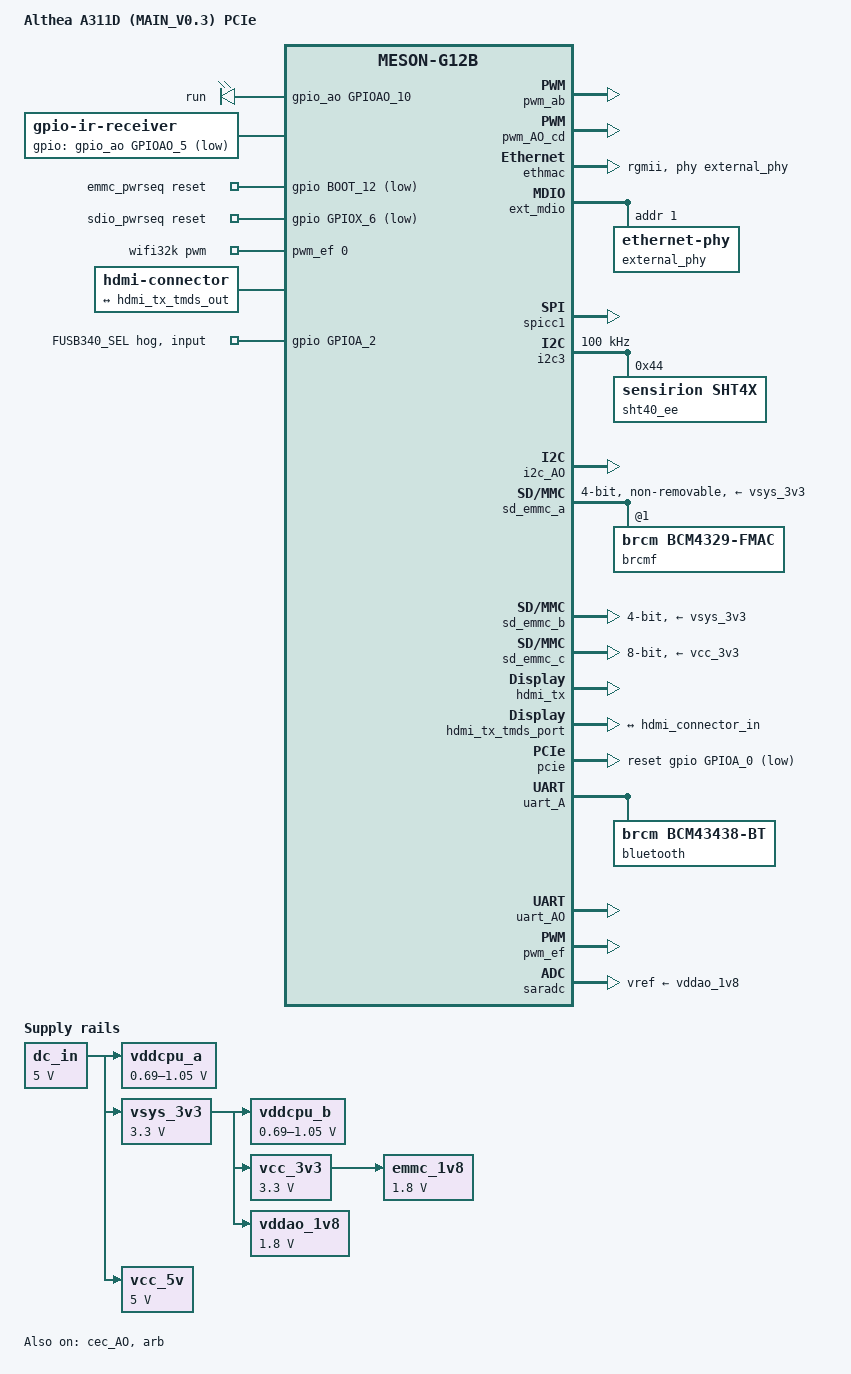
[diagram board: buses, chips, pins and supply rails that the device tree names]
// SPDX-License-Identifier: (GPL-2.0+ OR MIT)
/*
 * MAIN_V0.3 — Althea A311D board 【PCIe 模式变体】
 *
 * 本文件是 dt/meson-halo-a311d.dts 的 PCIe 变体，差异：
 *   &pcie status="okay" + reset-gpios(GPIOA_0 PERST#)
 *   &usb  status="disabled"
 *
 * ⚠ 切换方式：**不是 extlinux**。本板 U-Boot 在 boot 前读 GPIOA_2 的
 *   strap 电平，据此 setenv fdtfile 选对应 dtb（冷切换）。
 *   镜像里的 dtb 路径形如：
 *     dtb/amlogic/meson-halo-a311d.dtb        ← USB3.0 变体
 *     dtb/amlogic/meson-halo-a311d-pcie.dtb   ← 本文件（PCIe 变体）
 *   详见 docs/冷切换使用说明.md 与 README「软件链路」一节。
 *
 * 派生自 Khadas VIM3 (meson-g12b-a311d-khadas-vim3.dts)
 * 骨架来源: mainline kernel 6.18.52
 *          arch/arm64/boot/dts/amlogic/meson-khadas-vim3.dtsi
 *
 * 本板与 VIM3 的差异:
 *   - 无on-board MCU（VIM3 用 khadas_mcu@18 + tca6408@20 做 GPIO扩展）→ 已删除
 *   - 无音频（TDM 声卡全删）→ 已删除
 *   - FUSB340TMX 切换改由 GPIOA_2 直控 SEL（VIM3 靠 MCU）
 *   - 以太网 PHY 地址 = 1（strap 实测，非 VIM3 的 0）
 *   - 新增 SPI 点屏（GPIOA_3/GPIOA_4/GPIOH_4~8）
 *   - 新增 SHT40 温湿度（U42，地址 0x44，走 &i2c3）
 *     （U45 虽贴装但 I2C 线网表悬空，未启用）
 *   - 摄像头未使用 → CSI/ISP 关闭
 *
 * 数据来源: MAIN_V0.3 全工程网表实测（495 元件/ 393 网络）
 *          PCB 等长网络组实测（TX散布6.5mil / RX 散布 7.3mil）
 *
 * ⚠ 运行时热切换限制（详见 FUSB340 说明段）
 *
 *   &pcie 与 &usb 共用 usb3_pcie_phy（meson-g12-common.dtsi:164/2510），
 *   DTS 是编译期静态描述，PHY 归谁在编译时就定死。
 *   → 当前配置：默认只开 USB3.0（&usb okay，&pcie disabled），
 *     与 FUSB340 SEL 默认 LOW 一致。
 *   → 运行期 echo GPIO 只能改 FUSB340 物理通路，无法同步 SoC 内部 PHY 归属。
 *   → 要切 PCIe 需重编 DTB（方案 A，推荐）或实测 unbind/bind（方案 C，不保证）。
 *
 * ✅ 已确认可用：CPU 调压(VIM3 骨架) / 以太网(rgmii+tx-delay+rx-delay) /
 *    SDIO / SD / eMMC / HDMI / CEC / USB / 运行灯 / 红外GPIO /
 *    **SPI 硬件 SPI1(GPIOH_4~7, CS=GPIOH_6/SCLK=GPIOH_7)** /
 *    SPI 屏 RST-RS-背光 / **SHT40(U42, i2c3)**
 */

/dts-v1/;

#include <dt-bindings/gpio/meson-g12a-gpio.h>
#include <dt-bindings/gpio/gpio.h>
#include <dt-bindings/leds/common.h>
#include <dt-bindings/input/linux-event-codes.h>
#include <dt-bindings/interrupt-controller/irq.h>
/* ⚠⚠ 只能 include a311d 这一份，**不要**再 include meson-g12b-s922x.dtsi。
 * 详见 meson-halo-a311d.dts 里同段注释（同名 opp-table 会被 dtc 合并成混搭表）。
 */
#include "meson-g12b-a311d.dtsi"

/ {
	model = "Althea A311D (MAIN_V0.3) PCIe";
	compatible = "althea,a311d", "amlogic,a311d", "amlogic,g12b";

	aliases {
		serial0 = &uart_AO;
		ethernet0 = &ethmac;
		/* ⚠ 本板**没有** RTC 芯片（网表 495 元件里查无 8563/3231/DS1307 等），
		 *   原先指向厂商 hym8563 的 rtc@51 节点已删除。
		 *   改指 SoC 内置的虚拟 RTC（vrtc: rtc@a8，compatible="amlogic,meson-vrtc"，
		 *   驱动 drivers/rtc/rtc-meson-vrtc.c，上游 g12-common.dtsi 里默认 okay）。
		 *   上游 VIM3 用 rtc0=&rtc(hym8563) + rtc1=&vrtc，本板只有 vrtc 一个。
		 */
		rtc0 = &vrtc;
	};

	chosen {
		stdout-path = "serial0:115200n8";
	};

	/* ================================================================
	 * 电源（VIM3 骨架，pwm-regulator 调压）
	 * ================================================================
	 * ⚠ 关于 VDDCPU_B_EN(TEST_N)：
	 *   本板未实现 TEST_N 控制。厂商 pro-a311d DTS 与mainline VIM3 均为
	 *   regulator-always-on（VIM3 原注释: "FIXME: actually controlled by
	 *   VDDCPU_B_EN"）。A311D 无 PMIC，CPU 供电靠 PWM 占空比调压，
	 *   TEST_N 仅作硬件上电闸门，不需DTS 控制。
	 *   本板网表 VDDCPU_B_EN(CN3-73) 链路 R6/R12/Q2/U4 全部 bom=no（未使用）。
	 */

	/* 大核 A73 供电：MP8756GD，用 pwm_ab 控制器的 **A 通道** */
	vddcpu_a: regulator-vddcpu-a {
		compatible = "pwm-regulator";
		regulator-name = "VDDCPU_A";
		regulator-min-microvolt = <690000>;
		regulator-max-microvolt = <1050000>;

		pwm-supply = <&dc_in>;
		/*
		 * pwm_ab = EE 域 PWM 控制器(pwm@1b000)，0=A、1=B。
		 * 通道 0(A) 可选脚含 GPIOX_6；
		 * 本板 VDDCPU_A_PWM = GPIOE_2 (厂商 pinmux pwm_a_e2 →
		 *   function "pwm_a_gpioe"，规格书 Table 3-10 GPIOE_2 组)。
		 */
		pwms = <&pwm_ab 0 1250 0>;
		pwm-dutycycle-range = <100 0>;

		regulator-boot-on;
		regulator-always-on;
	};

	/* 小核 A53 供电：SY8030DEC，用 PWM_AO_C/D 控制器的 **D 通道** */
	vddcpu_b: regulator-vddcpu-b {
		compatible = "pwm-regulator";
		regulator-name = "VDDCPU_B";
		regulator-min-microvolt = <690000>;
		regulator-max-microvolt = <1050000>;

		pwm-supply = <&vsys_3v3>;
		/*
		 * pwm_AO_cd = AO 域 PWM 控制器(pwm@2000)，非引脚名。
		 * Amlogic PWM 两两配对：AB / CD / EF。
		 * 此控制器 0=A、1=D。
		 * 通道 1(D) 可选脚: GPIOAO_5 / GPIOAO_10 / GPIOE_1
		 * 本板 VDDCPU_B_PWM = GPIOE_1 (规格书 Table 3-10
		 *   GPIOE_1 Func3 = PWMAO_D)，故用 pwm_ao_d_e_pins。
		 */
		pwms = <&pwm_AO_cd 1 1250 0>;
		pwm-dutycycle-range = <100 0>;

		regulator-boot-on;
		regulator-always-on;
	};

	dc_in: regulator-dc-in {
		compatible = "regulator-fixed";
		regulator-name = "DC_IN";
		regulator-min-microvolt = <5000000>;
		regulator-max-microvolt = <5000000>;
		regulator-always-on;
	};

	vsys_3v3: regulator-vsys-3v3 {
		compatible = "regulator-fixed";
		regulator-name = "VSYS_3V3";
		regulator-min-microvolt = <3300000>;
		regulator-max-microvolt = <3300000>;
		vin-supply = <&dc_in>;
		regulator-always-on;
	};

	vcc_5v: regulator-vcc-5v {
		compatible = "regulator-fixed";
		regulator-name = "VCC_5V";
		regulator-min-microvolt = <5000000>;
		regulator-max-microvolt = <5000000>;
		vin-supply = <&dc_in>;
		regulator-always-on;
	};

	/* MT9700 EN 已改电阻上拉常开 → GPIOAO_11 释放，不做 GPIO 使能 */
	vcc_3v3: regulator-vcc-3v3 {
		compatible = "regulator-fixed";
		regulator-name = "VCC_3V3";
		regulator-min-microvolt = <3300000>;
		regulator-max-microvolt = <3300000>;
		vin-supply = <&vsys_3v3>;
		regulator-always-on;
	};

	vddao_1v8: regulator-vddao-1v8 {
		compatible = "regulator-fixed";
		regulator-name = "VDDIO_AO1V8";
		regulator-min-microvolt = <1800000>;
		regulator-max-microvolt = <1800000>;
		vin-supply = <&vsys_3v3>;
		regulator-always-on;
	};

	emmc_1v8: regulator-emmc-1v8 {
		compatible = "regulator-fixed";
		regulator-name = "EMMC_AO1V8";
		regulator-min-microvolt = <1800000>;
		regulator-max-microvolt = <1800000>;
		vin-supply = <&vcc_3v3>;
		regulator-always-on;
	};

	/* ================================================================
	 * 运行指示灯 LED4 —— GPIOAO_10
	 * ================================================================
	 * 硬件: A_3V3 → R108(4.7k) → LED4 → Q8(PMBS3904, **NPN**) → GND
	 *      Q8 BASE ← R110(100Ω) ← GPIOAO_10
	 * NPN 低边开关 → 高电平点亮 → GPIO_ACTIVE_HIGH
	 * AO 域 can_sleep=false → 内核 heartbeat 可在 atomic 上下文工作
	 *
	 * ⚠⚠ 属性名必须是 **linux,default-trigger**（带 `linux,` 前缀），
	 *   默认状态属性是 **default-state**（不是 state）。
	 *   依据：drivers/leds/led-class.c:504 读 "linux,default-trigger"；
	 *         drivers/leds/led-core.c:607 读 "default-state"；
	 *         plain "default-trigger" 与 "state" 内核均无人读取。
	 *   详见 dt/meson-halo-a311d.dts 同一处的完整注释。
	 */
	leds {
		compatible = "gpio-leds";

		run_led {
			label = "run";
			gpios = <&gpio_ao GPIOAO_10 GPIO_ACTIVE_HIGH>;
			linux,default-trigger = "heartbeat";
			default-state = "on";
		};
	};

	/* ------------------------------------------------------------
	 * PCIe / M.2 控制脚（网表实测，见文件末尾 &pcie 段详注）
	 * ------------------------------------------------------------
	 * GPIOA_0  = PCIE_PERST     4.7k 上拉 A_3V3(R88) + 0Ω(R92) → CN2-30，低有效
	 * GPIOA_1  = PCIE_PEWAKE    4.7k 上拉 A_3V3(R89) + 0Ω(R91) → CN2-32
	 * GPIOC_7  = PCIE_CLKREQ_N  4.7k 下拉 GND(R90)  + 0Ω(R93) → CN2-28，低有效
	 * GPIOA_2  = FUSB340 SEL    R86(0Ω) 到 U28.6，R85/R87 4.7k 下拉 → 默认 USB3.0
	 *
	 * ⚠⚠ FUSB340_SEL 的 hog **不能**放在根节点（见文件末尾 &gpio 段）。
	 *   下面只留注释说明，实体节点见 &gpio { fusb340-sel-hog { ... } }。
	 */

	/* ================================================================
	 * 红外接收 —— U38 IRM-V838M3-C/TR1 → GPIOAO_5 (AO 域)
	 * ================================================================
	 * 链路: U38.3 → R116/R115 → CN3-75 (IR_IN) → GPIOAO_5
	 * 复用名 IR_REMOTE_IN / PWMAO_D（规格书）
	 *
	 * ⚠ 本板遥控器键值表未知，暂用 Linux 自带 rc-khadas。
	 *   若遥控器型号不同，需换对应 rc-map-name 或自定义 keymap。
	 */
	ir-receiver {
		compatible = "gpio-ir-receiver";
		gpios = <&gpio_ao GPIOAO_5 GPIO_ACTIVE_LOW>;
	};

	/* ================================================================
	 * SPI 屏（FPC5 座）
	 * ================================================================
	 * SPI_B: MOSI=GPIOH_4, MISO=GPIOH_5, CS=GPIOH_7, SCLK=GPIOH_6
	 * 屏控制: RST=GPIOA_3, RS=GPIOA_4（普通 GPIO，非 SPI 复用）
	 * 背光:   GPIOH_8 → Q15(MMBT3906 **PNP** 高边) → SPI_LEDA
	 *          PNP 拉低导通 → GPIO_ACTIVE_LOW
	 */

	/* eMMC 上电时序 */
	emmc_pwrseq: emmc-pwrseq {
		compatible = "mmc-pwrseq-emmc";
		reset-gpios = <&gpio BOOT_12 GPIO_ACTIVE_LOW>;
	};

	/* SDIO (AP6256) 上电时序 —— 用 GPIOX_6 */
	sdio_pwrseq: sdio-pwrseq {
		compatible = "mmc-pwrseq-simple";
		reset-gpios = <&gpio GPIOX_6 GPIO_ACTIVE_LOW>;
		clocks = <&wifi32k>;
		clock-names = "ext_clock";
	};

	/* 32.768kHz 时钟（AP6256 需求） */
	wifi32k: wifi32k {
		compatible = "pwm-clock";
		#clock-cells = <0>;
		clock-frequency = <32768>;
		pwms = <&pwm_ef 0 30518 0>; /* PWM_E at 32.768KHz */
	};

	hdmi-connector {
		compatible = "hdmi-connector";
		type = "a";

		port {
			hdmi_connector_in: endpoint {
				remote-endpoint = <&hdmi_tx_tmds_out>;
			};
		};
	};

	/* ================================================================
	 * SHT40 (U42) —— 温湿度传感器，地址 0x44
	 * ================================================================
	 * U42 @ TOUCH_I2C (GPIOA_14/A15, EE 域, A_3V3 供电)
	 * U45 @ I2C_AO_S0 (AO 域, VDDIO_AO18 1.8V 供电)
	 * ⚠ 不能挂到同一&i2c 下 → 地址冲突
	 */

	/* ================================================================
	 * 按键 —— 全部非 GPIO 直连，底板不声明
	 * ================================================================
	 * SW2 → PWR_RST(CN3-35)     硬复位，不进 DTS
	 * SW3 → EMMC_KEY(CN3-33)    eMMC 复位，不进 DTS
	 * SW4 → PWR_KEY_DET(CN3-43) 电源/唤醒键（核心板侧处理）
	 * SW5 → ADC_KEY(CN3-55)     bom=no 未贴；SARADC_CH0/CH3 悬空
	 * 所有串阻均为 **100Ω**（非 1k）
	 * → 无 adc-keys、无 gpio-keys
	 */

	/* ================================================================
	 * 摄像头未使用 → 全部屏蔽
	 * ================================================================
	 * MIPI-CSI(FPC2) / CAMERA_RST / CM_RST / CM_PWRDN / I2C2_*_CAM 均不引用
	 * FPC3 仅保留 MIPI-DSI 显示通路
	 */
};

/* ==================================================================
 * CPU 频率/电压绑定（VIM3 骨架）
 * ================================================================== */
&cpu0 {
	cpu-supply = <&vddcpu_b>;      /* A53 小核 */
	operating-points-v2 = <&cpu_opp_table_0>;
	clocks = <&clkc CLKID_CPU_CLK>;
};

&cpu1 {
	cpu-supply = <&vddcpu_b>;
	operating-points-v2 = <&cpu_opp_table_0>;
	clocks = <&clkc CLKID_CPU_CLK>;
};

&cpu100 {
	cpu-supply = <&vddcpu_a>;      /* A73 大核 */
	operating-points-v2 = <&cpub_opp_table_1>;
	clocks = <&clkc CLKID_CPUB_CLK>;
};

&cpu101 {
	cpu-supply = <&vddcpu_a>;
	operating-points-v2 = <&cpub_opp_table_1>;
	clocks = <&clkc CLKID_CPUB_CLK>;
};

&cpu102 {
	cpu-supply = <&vddcpu_a>;
	operating-points-v2 = <&cpub_opp_table_1>;
	clocks = <&clkc CLKID_CPUB_CLK>;
};

&cpu103 {
	cpu-supply = <&vddcpu_a>;
	operating-points-v2 = <&cpub_opp_table_1>;
	clocks = <&clkc CLKID_CPUB_CLK>;
};

/* pwm_ab 通道0(A) → GPIOE_2 = VDDCPU_A_PWM（大核 A73） */
&pwm_ab {
	pinctrl-0 = <&pwm_a_e_pins>;
	pinctrl-names = "default";
	status = "okay";
};

/* pwm_AO_cd 通道1(D) → GPIOE_1 = VDDCPU_B_PWM（小核 A53） */
&pwm_AO_cd {
	pinctrl-0 = <&pwm_ao_d_e_pins>;
	pinctrl-names = "default";
	status = "okay";
};

/* ==================================================================
 * 以太网 —— RGMII 千兆 + RTL8211F
 * ==================================================================
 * PHY : U23 = RTL8211F，pin-to-pin 兼容 YT8531H-CA
 * 地址: strap 实测 = 3'b001 = 1（R78→A_3V3, R79/R80→GND）
 *       ⚠ VIM3 用 reg=<0>，本板必须改为 1
 *
 * 延时方案（抄 VIM3 + 补 RX）:
 *   PHY strap: TXDLY=1(加2ns), RXDLY=0(不加)
 *   PCB 等长实测: TX散布 6.5mil(≈1ps), RX 散布 7.3mil(≈1ps)
 *   → PCB 几乎不提供 clock-data 偏移
 *   → TX 由 MAC 加（amlogic,tx-delay-ns=2，VIM3 原样）
 *   → RX 由 MAC 加（rx-internal-delay-ps=2000，范围 0..3000ps/200ps 步进）
 *
 * ⚠ 禁用 phy-mode="rgmii-id"：PHY strap TXDLY 已开，会与 MAC 叠加成 4ns
 */
&ethmac {
	pinctrl-0 = <&eth_pins>, <&eth_rgmii_pins>;
	pinctrl-names = "default";
	status = "okay";
	phy-mode = "rgmii";
	phy-handle = <&external_phy>;
	amlogic,tx-delay-ns = <2>;
	rx-internal-delay-ps = <2000>;
};

&ext_mdio {
	external_phy: ethernet-phy@1 {   /* ⚠ 非 VIM3 的 @0 */
		/* Realtek RTL8211F (0x001cc916) */
		reg = <1>;
		max-speed = <1000>;
	};
};

/*
 *⚠⚠⚠ FUSB340TMX —— PCIe / USB3.0 热切换：可行性结论 ⚠⚠⚠
 *
 * 【硬件】
 *   GPIOA_2 → CN2-36 → R86(0Ω) → FUSB340 .6(SEL)
 *   FUSB340 .7(OE) → GND = 恒使能（0 = Switches Enabled）
 *   R85/R87 = 4.7k 下拉 →上电默认 LOW
 *
 *   SEL=0 (LOW)  → SW1 → USB3.0   ← 默认
 *   SEL=1 (HIGH) → SW2 → PCIe
 *
 * 【为什么 DTS 不能"热切换"】
 *
 *   A311D 的 PCIe 与 USB3 共用**同一个 PHY**（usb3_pcie_phy, phy@46000），
 *   两者是同一 PHY 的两种模式：
 *     meson-g12-common.dtsi:164   &pcie  → phys = <&usb3_pcie_phy PHY_TYPE_PCIE>
 *     meson-g12-common.dtsi:2510&usb   → phys = <&usb3_pcie_phy PHY_TYPE_USB3>
 *
 *   DTS 是**编译期静态描述**，一旦编译进 dtb，PHY 归谁就固定了：
 *     - pcie 的 status="okay" + USB 去掉 → 编译后一直是 PCIe
 *     - USB 启用 + pcie status="disabled"      → 编译后一直是 USB3.0
 *
 *   运行中改 GPIO 只能改变 FUSB340 的**物理通路**，
 *   但 SoC 内部仍按dtb 里写死的那一侧在枚举设备 → 两边不一致，功能失效。
 *
 * 【三个可选方案】
 *
 *   方案 A（推荐，最稳）：**两个DTB，开机时选**
 *     编译 amlogic/meson-halo-a311d.dtb 与 amlogic/meson-halo-a311d-pcie.dtb
 *     切换时改 U-Boot 的 fdtfile（**不是 extlinux**，见 docs/冷切换使用说明.md），重启生效
 *     → 彻底规避 PHY 归属问题，无热插拔风险
 *
 *   方案 B：DTB 里 pcie 与 usb **同时 status="okay"**
 *     两者共用 PHY，驱动 probe 时会争抢 → 大概率一方失败
 *     ⚠ 不推荐，除非已实测
 *
 *   方案 C：运行期 unbind/bind（理论可行，复杂度高）
 *     1) echo 0000:00.0 > /sys/bus/pci/devices/0000:00.0/remove   # 摘 PCIe
 *     2) echo 1 > /sys/class/gpio/<n>/value                     # SEL=1
 *     3) 重新 bind pcie / usb 控制器
 *     → PHY 模式位需要正确复位，仅切 FUSB340 不一定够
 *     → 需实测验证，不保证
 *
 * 【当前 DTS 采用】
 *   默认只开USB3.0（&usb status="okay"），&pcie 保持 disabled，
 *   与用户要求"默认 LOW 使能 USB3.0"一致。
 *   GPIOA_2 已用 gpio-hog 导出（默认 LOW），可在sysfs 读写，
 *   为方案 C 预留可能，但**不保证运行期切换一定成功**。
 *
 *   切换 PCIe 需改 DT 后重编：
 *     &pcie  { status = "okay"; reset-gpios = <&gpio GPIOA_8 GPIO_ACTIVE_LOW>; }
 *     &usb   { status = "disabled"; }
 *     并把 FUSB340 SEL 的默认电平改为 HIGH（或固件启动时拉高）
 */

/* ==================================================================
 * SPI 屏（FPC5）—— 硬件 SPI1（GPIOH_4~7）
 * ==================================================================
 * 规格书 A311D Table 3-26 (GPIO_x Multi-Function Pin) 与
 * mainline drivers/pinctrl/meson/pinctrl-meson-g12a.c 双向确认：
 *
 *   规格书 bit 字段         GPIO      驱动 group    pinctrl function
 *   ----------------------  --------  ------------  ---------------
 *   bit31-24  SPI_B_MOSI    GPIOH_4   spi1_mosi     "spi1"
 *   bit23-16  SPI_B_SCLK    GPIOH_7   spi1_clk      "spi1"
 *   bit15-8   SPI_B_SS0     GPIOH_6   spi1_ss0      "spi1"
 *   bit7-0    SPI_B_MISO    GPIOH_5   spi1_miso     "spi1"
 *
 *   驱动原文 (pinctrl-meson-g12a.c):
 *     186: spi1_mosi_pins[] = { GPIOH_4 };
 *     187: spi1_miso_pins[] = { GPIOH_5 };
 *     188: spi1_ss0_pins[]  = { GPIOH_6 };
 *     189: spi1_clk_pins[]  = { GPIOH_7 };
 *
 *   注意命名差异：规格书称 SPI_B（SoC 第 2 个 SPI），
 *   mainline pinctrl 驱动称 spi1_*，SoC 节点名为 spi1。
 *
 *   CS = SPI_B_SS0 = GPIOH_6（不是 GPIOH_7）；SCLK = GPIOH_7。
 *
 * 屏控制 GPIO（与 SPI 控制器无关）：
 *   GPIOA_3 = SPI_RST(屏复位)   GPIOA_4 = SPI_RS(寄存器选择)
 *   GPIOH_8 = 背光 EN -> Q15(MMBT3906 PNP 高边) -> ACTIVE_LOW
 */

/* SPI_B 控制器 = SPI1，GPIOH_4~7 */
/* spi1_* pinctrl group 归属 &spicc1 (spi@15000)，
 * 见 meson-g12-common.dtsi:1058 spicc1_pins
 *   groups = "spi1_mosi","spi1_miso","spi1_clk" / function = "spi1"
 * SS0 是独立节点 spicc1_ss0_pins (group "spi1_ss0")，需单独列进 pinctrl。
 */
&spicc1 {
	status = "okay";

	pinctrl-0 = <&spicc1_pins>, <&spicc1_ss0_pins>;
	pinctrl-names = "default";

	num-cs = <1>;
	cs-gpios = <&gpio GPIOH_6 GPIO_ACTIVE_LOW>;	/* SPI_B_SS0 = GPIOH_6 */

	/* ⚠⚠ 这里**不能**写 max-frequency —— 内核根本不读它！
	 *   SPI 子系统只读**从设备**节点上的 `spi-max-frequency`
	 *   （drivers/spi/spi.c:2456  of_property_read_u32(nc, "spi-max-frequency", ...)），
	 *   控制器节点上的 max-frequency 没有任何驱动消费。
	 *   之前写的 `max-frequency = <24000000>`（想限制到 24MHz）**从未生效**。
	 *
	 *   实际限频由驱动决定：drivers/spi/spi-meson-spicc.c
	 *     meson_spicc_g12a_data.max_speed_hz = 166666666   (166 MHz)
	 *   → 屏在 SPI 总线上最高可跑到 166MHz。
	 *
	 *   本板 SPI_B 上接的是**裸屏**（无 Linux 驱动、无从设备节点，
	 *   见下方「屏控制 GPIO 说明」），没有地方挂 spi-max-frequency。
	 *   要限制到 24MHz，需要给屏写一个 spi 从设备节点并在其中声明
	 *   spi-max-frequency = <24000000>；等屏驱动到位时再补。
	 *
	 *   屏初始化序列通常在屏驱动中，不在 DTS */
};

/* 屏控制 GPIO 说明（无对应 Linux 驱动消费，故不单独声明节点）
 *   屏复位RST   = GPIOA_3  (普通 GPIO 输出，屏手册定极性)
 *   寄存器选择RS = GPIOA_4  (普通 GPIO 输出)
 *   背光 EN     = GPIOH_8  (Q15 MMBT3906 PNP 高边 → 拉低导通 → 亮)
 *   → 背光随下面 leds 节点的 run_led 一并管理；RST/RS 由屏驱动或用户态控制。
 */

/* ==================================================================
 * GPIO —— periphs bank（&gpio = meson-g12-common.dtsi 的 bank@40）
 * ==================================================================
 * GPIOA_2 = FUSB340 SEL strap
 *
 * ⚠⚠ gpio-hog **必须**是 gpio-controller 的**子节点**：
 *   内核只在自己的 gpio controller 节点下扫 hog
 *   (drivers/gpio/gpiolib-of.c: of_gpiochip_scan_gpios() 遍历
 *    dev_of_node(&chip->gpiodev->dev) 的子节点)。
 *   挂在根节点下 → 内核根本不会看它。
 *
 * ⚠⚠ 属性名是 gpio-hog / gpios / input，
 *   之前的 `gpio-hog-controller-gpios` 上游**不存在**。
 *   且 input / output-low / output-high **必须显式三选一**，
 *   不写状态属性 = 内核报 "no hogging state specified, bailing out"
 *   并**跳过该 hog**（不是"自动变 input"）。
 *
 * 【为什么用 input 而非 output-low/output-high】
 *   SEL 电平由板上**选贴的上下拉电阻**决定，U-Boot 读它选 dtb。
 *   SoC 强驱会把 strap 电平盖掉 → 读出来永远是自己的输出值，切换逻辑失效。
 *   → input hog：只占位不驱动。
 *
 * 【input hog 的副作用】
 *   gpiod_hog() 走 gpiochip_request_own_desc()，该线被标记 REQUESTED
 *   → userspace 无法再 export 这条线（不能 echo 读写）。
 *   运行期改 SEL 只能靠方案 C（unbind/bind 控制器）或重编 DTB。
 *
 * 完整推导见 dt/meson-halo-a311d.dts 的同名段。
 */
&gpio {
	fusb340-sel-hog: fusb340-sel-hog {
		gpio-hog;
		gpios = <GPIOA_2 GPIO_ACTIVE_HIGH>;
		input;
		line-name = "FUSB340_SEL";
	};
};

/* ==================================================================
 * I2C —— SHT40 温湿度
 * ==================================================================
 * U42 @ I2C3 (GPIOA_14=SDA / GPIOA_15=SCL, EE 域, A_3V3 供电)
 *      规格书复用名 I2C_EE_M3_SDA / I2C_EE_M3_SCL
 *      驱动确认 (drivers/pinctrl/meson/pinctrl-meson-g12a.c):
 *        216: i2c3_sda_a_pins[] = { GPIOA_14 };
 *        217: i2c3_sck_a_pins[] = { GPIOA_15 };
 *      i2c3 节点: meson-g12-common.dtsi:2373  (i2c@1c000)
 *      参照: VIM3 亦用此组 (meson-khadas-vim3.dtsi:339)
 *
 * U45 @ I2C_AO (AO 域, VDDIO_AO18 1.8V 供电)
 *
 * 注意：两颗同地址 0x44 但在**两个独立 I2C 控制器**上，合法共存。
 *       切勿挂到同一 &i2c 下（地址冲突 -> 总线锁死）。
 */

/* U42 SHT40 —— I2C3 @ GPIOA_14(SDA)/GPIOA_15(SCL) */
&i2c3 {
	status = "okay";
	pinctrl-0 = <&i2c3_sda_a_pins>, <&i2c3_sck_a_pins>;
	pinctrl-names = "default";
	clock-frequency = <100000>;

	sht40_ee: sht40@44 {
		compatible = "sensirion,sht4x";
		reg = <0x44>;
	};
};

/* ==================================================================
 * I2C_AO —— AO 域 I2C 控制器（保留控制器，无挂载器件）
 * ==================================================================
 * ⚠ 这里**只保留控制器本身，不挂任何设备节点**，原因如下（依据网表
 *   netlist-dump/nl_parsed_full.json，495 元件 / 393 网络）：
 *
 * 1) U45 (SHT40) 已从 DTS 移除 —— 它的 I2C 线在网表上是**单端悬空**：
 *      I2C_AO_S0_SCL : 连接点仅 U45.2（1 个）
 *      I2C_AO_S0_SDA : 连接点仅 U45.1（1 个）
 *    即既没接到 SoC 的 AO I2C 引脚，也没有上拉电阻（对比 U42 所在的
 *    TOUCH_I2C_SCL/SDA：直连 CN2-64/62 → A311D GPIOA_15/A14）。
 *    → 这颗器件在 I2C 上根本收不到 ACK，驱动永远探测不到它，
 *      写节点只是误导。（U45 供电 VDDIO_AO18 正常，仅信号线悬空）
 *
 * 2) rtc@51 (hym8563) 已从 DTS 移除 —— 本板 495 个元件里
 *    **没有任何 RTC 芯片**（无 8563/3231/3028/DS1307 等）。
 *    该节点是从厂商 BSP (docs/vendor_dts/pro-a311d.dts:380) 抄来的，
 *    本板无对应硬件 → 留着只会让内核去 probe 一条不存在的总线。
 *
 * 保留控制器本身的意义：AO 域 I2C 引出到 CN3-69/71
 * （网络 I2C_AO_M0_SDA/SCL，经 Q13/Q14 模拟开关；两者 add_bom=no
 * 即不贴），后续若贴装外设可直接用这条控制器。
 */
&i2c_AO {
	status = "okay";
	pinctrl-0 = <&i2c_ao_sck_pins>, <&i2c_ao_sda_pins>;
	pinctrl-names = "default";
};

/* ==================================================================
 * SDIO —— AP6256 (A311D 仅 1 个 SDIO 控制器)
 * ================================================================== */
&sd_emmc_a {
	status = "okay";
	pinctrl-0 = <&sdio_pins>;
	pinctrl-1 = <&sdio_clk_gate_pins>;
	pinctrl-names = "default", "clk-gate";
	#address-cells = <1>;
	#size-cells = <0>;

	bus-width = <4>;
	cap-sd-highspeed;
	max-frequency = <100000000>;

	non-removable;
	disable-wp;
	keep-power-in-suspend;   /* WiFi 固件要求挂起时保持供电 */

	mmc-pwrseq = <&sdio_pwrseq>;

	vmmc-supply = <&vsys_3v3>;
	vqmmc-supply = <&vddao_1v8>;

	brcmf: wifi@1 {
		reg = <1>;
		compatible = "brcm,bcm4329-fmac";
	};
};

/* ==================================================================
 * SD 卡 (CARD1)
 * ================================================================== */
&sd_emmc_b {
	status = "okay";
	pinctrl-0 = <&sdcard_c_pins>;
	pinctrl-1 = <&sdcard_clk_gate_c_pins>;
	pinctrl-names = "default", "clk-gate";

	bus-width = <4>;
	cap-sd-highspeed;
	max-frequency = <50000000>;
	disable-wp;

	vmmc-supply = <&vsys_3v3>;
	vqmmc-supply = <&vsys_3v3>;
};

/* ==================================================================
 * eMMC (核心板)
 * ================================================================== */
&sd_emmc_c {
	status = "okay";
	pinctrl-0 = <&emmc_ctrl_pins>, <&emmc_data_8b_pins>, <&emmc_ds_pins>;
	pinctrl-1 = <&emmc_clk_gate_pins>;
	pinctrl-names = "default", "clk-gate";

	bus-width = <8>;
	cap-mmc-highspeed;
	mmc-ddr-1_8v;
	mmc-hs200-1_8v;
	max-frequency = <200000000>;
	disable-wp;

	mmc-pwrseq = <&emmc_pwrseq>;
	vmmc-supply = <&vcc_3v3>;
	vqmmc-supply = <&emmc_1v8>;
};

/* ==================================================================
 * 显示 —— 仅 MIPI-DSI(FPC3)；CSI 摄像头未使用
 * ==================================================================
 * SPI 屏走 &spi_A + 背光 GPIO，此处不配 DSI
 */

/* ==================================================================
 * 音频 —— 本板不保留（VIM3 的 TDM 声卡整块删除）
 * ==================================================================
 * 网表确认本板只有 AL_CH_P/N、AR_CH_P/N(CN1-37~43) 模拟音频通道，
 * 无外部 codec/功放 → 不需要声卡节点
 * → &tdmif_a / &tdmin_a / &tdmout_a / &toddr_a~c 全部不使能
 */

/* ==================================================================
 * HDMI
 * ================================================================== */
&hdmi_tx {
	status = "okay";
	pinctrl-0 = <&hdmitx_hpd_pins>, <&hdmitx_ddc_pins>;
	pinctrl-names = "default";
	hdmi-supply = <&vcc_5v>;
};

&hdmi_tx_tmds_port {
	hdmi_tx_tmds_out: endpoint {
		remote-endpoint = <&hdmi_connector_in>;
	};
};

/* CEC：底板经 Q6/Q7(MS3134) 电平转换 → CN1-51/49 */
&cec_AO {
	pinctrl-0 = <&cec_ao_a_h_pins>;
	pinctrl-names = "default";
	status = "okay";
	hdmi-phandle = <&hdmi_tx>;
};

/* ==================================================================
 * USB —— FUSB340 切换 PCIe/USB3
 * ================================================================== */
&usb2_phy0 {
	phy-supply = <&dc_in>;
};

&usb2_phy1 {
	phy-supply = <&vcc_5v>;
};

&usb3_pcie_phy {
	phy-supply = <&vcc_5v>;
};

/* PCIe 模式下USB3.0 关闭（PHY 已归 pcie，见 usb3_pcie_phy 说明） */
&usb {
	status = "disabled";
	dr_mode = "peripheral";
};

/* PCIe：默认禁用（FUSB340 SEL=0 → 物理通路在 USB3.0侧）
 * ⚠ &pcie 与 &usb 共用 usb3_pcie_phy，不能同时 okay，详见FUSB340 说明段。
 * 切 PCIe 需改 DT 重编：status="okay" 并把 FUSB340 SEL 默认电平改为高。
 */
/* ==================================================================
 * PCIe（M.2）—— GPIOA_0/A1/GPIOC_7 + FUSB340 SEL(GPIOA_2)
 * ==================================================================
 * 【FUSB340 模式选择】
 *   .6=SEL ← R86(0Ω) ← GPIOA_2（R85/R87 4.7k 下拉，默认 LOW）
 *        LOW  → SW1 → USB3.0   ← 上电默认
 *        HIGH → SW2 → PCIe
 *   .7=OE → GND = 恒使能
 *
 * 【PCIe 控制脚（网表实测）】
 *   GPIOA_0  = PCIE_PERST    4.7k 上拉 A_3V3 (R88) + 0Ω (R92) → CN2-30
 *             →低有效复位（M.2 PERST#），DTS: reset-gpios = <... GPIO_ACTIVE_LOW>
 *   GPIOA_1  = PCIE_PEWAKE   4.7k 上拉 A_3V3 (R89) + 0Ω (R91) → CN2-32
 *             → 唤醒输入，DTS: wakeup-gpios（若内核支持）
 *   GPIOC_7  = PCIE_CLKREQ_N 4.7k **下拉 GND** (R90) + 0Ω (R93) → CN2-28
 *             → CLKREQ# 低有效，wakeup-source
 *
 * 【PHY 供电】
 *   ⚠ FUSB340 .17(VDD) ← **VSYS_3V3**（C232 1uF 去耦），恒开
 *   ⚠ U29(APCI0107, M.2) 供电来自 **NB680GD(U1/U2)**，常开无使能脚
 *   → 无 "usb_pwr"/"pcie_pwr" regulator 节点，不需 GPIO 控制
 *
 * 【为什么不能运行期热切换】
 *   A311D 的 &pcie 与 &usb 共用同一 PHY usb3_pcie_phy (phy@46000)：
 *     meson-g12-common.dtsi:164  &pcie → phys = <&usb3_pcie_phy PHY_TYPE_PCIE>
 *     meson-g12-common.dtsi:2510 &usb  → phys = <&usb3_pcie_phy PHY_TYPE_USB3>
 *   DTS 是编译期静态描述，PHY 归属编译时定死；运行中改 FUSB340 的 SEL
 *   只能改变物理通路，SoC 内部仍按 dtb 写死的一侧枚举 → 两侧不一致失效。
 *
 * 【切换方案】**冷切换（重启选 DTB），最稳**
 *   方式一（推荐）：编译两个 DTB，由 U-Boot 按 GPIOA_2 电平选 fdtfile
 *       amlogic/meson-halo-a311d.dtb        ← &usb  okay
 *       amlogic/meson-halo-a311d-pcie.dtb   ← &pcie okay
 *       ⚠ 本板**不是 extlinux**（SRC_EXTLINUX 未开），切换靠
 *         userpatches/bootscripts/boot-meson64.cmd 里的注入块
 *         （gpio read → setenv fdtfile），详见 docs/冷切换使用说明.md
 *   方式二：单 DTB + U-Boot 脚本读 GPIOA_2 电平动态注入
 *       if gpio get 2; then fdt set /pcie@fc000000 status "okay";
 *                            fdt set /usb@fc00000 status "disabled";
 *                       else   fdt set /usb@fc00000 status "okay";
 *                            fdt set /pcie@fc000000 status "disabled"; fi
 *
 *   GPIOA_2 用 gpio-hog 占位（&gpio 下的 fusb340-sel-hog，**input** hog，
 *   line-name="FUSB340_SEL"），只占位不驱动 strap。
 *   ⚠ input hog 会把该线标记为内核 REQUESTED → userspace **不能**
 *     再 export 读写它（不能 echo）。运行期切 SEL 只能靠方案 C
 *     （unbind/bind 控制器）或重编 DTB。
 *
 * 【当前配置】本文件为 PCIe 模式：&pcie okay / &usb disabled
 *   USB3.0 变体见 dt/meson-halo-a311d.dts（&usb okay / &pcie disabled）
 */
/* PCIe 模式启用（本变体）
 * reset: M.2 PERST# = GPIOA_0，4.7k 上拉 A_3V3，低有效
 *        参考 VIM3 用 GPIOA_8，本板实测为 GPIOA_0
 */
&pcie {
	status = "okay";
	reset-gpios = <&gpio GPIOA_0 GPIO_ACTIVE_LOW>;

	/* ⚠ 从 PCIe 唤醒（PEWAKE / CLKREQ#）**当前无法在 DT 里启用**：
	 *   dw-pcie 驱动根本不读 wakeup-gpios（v6.18 全树 drivers/pci 下
	 *   0 处引用），PCI 绑定文档也没列这个属性。
	 *   → 写上去也只是被忽略，不会报错，但会误导后来人，故保持注释。
	 *
	 * 若内核/设备支持从 PCIe 唤醒，再启用以下两项：
	 *   wakeup-gpios = <&gpio GPIOA_1 GPIO_ACTIVE_HIGH>;  // PEWAKE (4.7k上拉)
	 *   wakeup-source;                                     // CLKREQ# (GPIOC_7, 4.7k下拉)
	 */
};

/* ==================================================================
 * 串口
 * ================================================================== */
&uart_A {
	status = "okay";
	pinctrl-0 = <&uart_a_pins>, <&uart_a_cts_rts_pins>;
	pinctrl-names = "default";
	uart-has-rtscts;

	/* AP6256 蓝牙：BT_EN 经 R147(4.7k)+R145(3.3k) → CN2-58 */
	bluetooth {
		compatible = "brcm,bcm43438-bt";
		max-speed = <2000000>;
		clocks = <&wifi32k>;
		clock-names = "lpo";
	};
};

&uart_AO {
	status = "okay";
	pinctrl-0 = <&uart_ao_a_pins>;
	pinctrl-names = "default";
};

/* ==================================================================
 * 其他（VIM3 骨架保留）
 * ================================================================== */
&arb {
	status = "okay";
};

&clkc_audio {
	status = "okay";
};

&pwm_ef {
	status = "okay";
	pinctrl-0 = <&pwm_e_pins>;
	pinctrl-names = "default";
};

/* SARADC：SW5 未贴、SARADC_CH0/CH3 悬空 → 不用 adc-keys */
&saradc {
	status = "okay";
	vref-supply = <&vddao_1v8>;
};

/* SPI NOR：与 eMMC 数据线冲突 → 保持 disabled（VIM3 原样） */
&spifc {
	status = "disabled";
};

/* ==================================================================
 * 屏蔽项（本板无对应硬件）
 * ==================================================================
 * &csi / &csi2   —— 摄像头未使用
 * &dsi           —— 改用 SPI 屏，不接MIPI 显示
 * &ir            —— 改用 gpio-ir-receiver（厂商 ir 节点配 rc-map）
 * adc-keys       —— SARADC 悬空 + SW5 未贴
 * gpio-keys      —— 按键全非 GPIO 直连
 * khadas_mcu / tca6408 —— 本板无 MCU 与 GPIO扩展器
 * pdm_codec / dummy_codec / eqdrc / frddr / toddr / tdm* —— 音频不保留
 */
